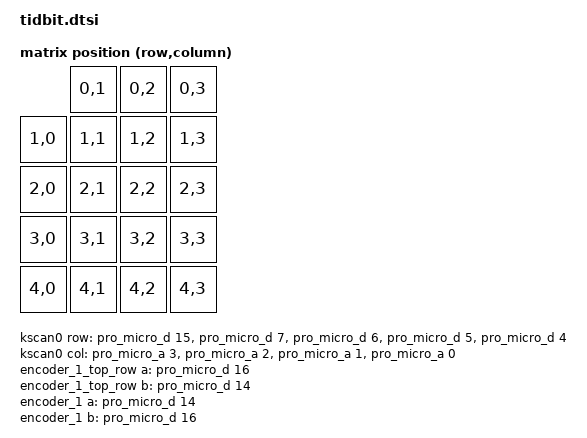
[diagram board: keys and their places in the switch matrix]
/*
 * Copyright (c) 2020 The ZMK Contributors
 *
 * SPDX-License-Identifier: MIT
 */

#include <dt-bindings/zmk/matrix-transform.h>

/ {
	kscan0: kscan {
		compatible = "zmk,kscan-gpio-matrix";
		label = "KSCAN";

		diode-direction = "col2row";

		row-gpios
			= <&pro_micro_d 15 (GPIO_ACTIVE_HIGH | GPIO_PULL_DOWN)>
			, <&pro_micro_d 7 (GPIO_ACTIVE_HIGH | GPIO_PULL_DOWN)>
			, <&pro_micro_d 6 (GPIO_ACTIVE_HIGH | GPIO_PULL_DOWN)>
			, <&pro_micro_d 5 (GPIO_ACTIVE_HIGH | GPIO_PULL_DOWN)>
			, <&pro_micro_d 4 (GPIO_ACTIVE_HIGH | GPIO_PULL_DOWN)>
			;

        col-gpios
			= <&pro_micro_a 3 GPIO_ACTIVE_HIGH>
			, <&pro_micro_a 2 GPIO_ACTIVE_HIGH>
			, <&pro_micro_a 1 GPIO_ACTIVE_HIGH>
			, <&pro_micro_a 0 GPIO_ACTIVE_HIGH>
			;

	};

	default_transform: keymap_transform_0 {
		compatible = "zmk,matrix-transform";
		columns = <4>;
		rows = <5>;

		map = <
                    RC(0,1) RC(0,2) RC(0,3)
            RC(1,0) RC(1,1) RC(1,2) RC(1,3)
            RC(2,0) RC(2,1) RC(2,2) RC(2,3)
            RC(3,0) RC(3,1) RC(3,2) RC(3,3)
            RC(4,0) RC(4,1) RC(4,2) RC(4,3)
		>;
	};

	encoder_1_top_row: encoder_1_top_row {
		compatible = "alps,ec11";
		label = "Top Row Encoder";
		a-gpios = <&pro_micro_d 16 (GPIO_ACTIVE_HIGH | GPIO_PULL_UP)>;
		b-gpios = <&pro_micro_d 14 (GPIO_ACTIVE_HIGH | GPIO_PULL_UP)>;
		resolution = <4>;
		status = "disabled";
	};

	encoder_1: encoder_1 {
		compatible = "alps,ec11";
		label = "Encoder 1";
		a-gpios = <&pro_micro_d 14 (GPIO_ACTIVE_HIGH | GPIO_PULL_UP)>;
		b-gpios = <&pro_micro_d 16 (GPIO_ACTIVE_HIGH | GPIO_PULL_UP)>;
		resolution = <4>;
		status = "disabled";
	};

	encoder_2: encoder_2 {
		compatible = "alps,ec11";
		label = "Encoder 2";
		a-gpios = <&pro_micro_d 8 (GPIO_ACTIVE_HIGH | GPIO_PULL_UP)>;
		b-gpios = <&pro_micro_d 9 (GPIO_ACTIVE_HIGH | GPIO_PULL_UP)>;
		resolution = <4>;
		status = "disabled";
	};

	encoder_3: encoder_3 {
		compatible = "alps,ec11";
		label = "Encoder 3";
		a-gpios = <&pro_micro_d 3 (GPIO_ACTIVE_HIGH | GPIO_PULL_UP)>;
		b-gpios = <&pro_micro_d 2 (GPIO_ACTIVE_HIGH | GPIO_PULL_UP)>;
		resolution = <4>;
		status = "disabled";
	};

	encoder_4: encoder_4 {
		compatible = "alps,ec11";
		label = "Encoder 4";
		a-gpios = <&pro_micro_d 1 (GPIO_ACTIVE_HIGH | GPIO_PULL_UP)>;
		b-gpios = <&pro_micro_d 0 (GPIO_ACTIVE_HIGH | GPIO_PULL_UP)>;
		resolution = <4>;
		status = "disabled";
	};

    chosen {
		zmk,kscan = &kscan0;
		zmk,matrix_transform = &default_transform;
		zmk,underglow = &led_strip;
	};
};
